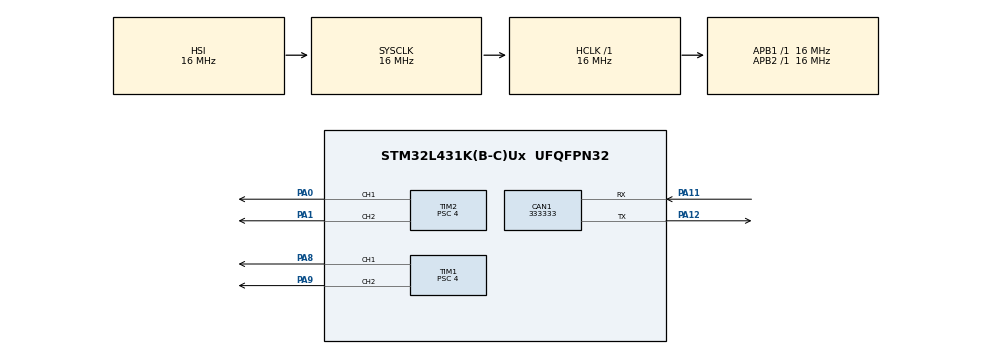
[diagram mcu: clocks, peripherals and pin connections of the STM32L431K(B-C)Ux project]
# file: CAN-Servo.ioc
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CAN1.BS1=CAN_BS1_1TQ
CAN1.BS2=CAN_BS2_1TQ
CAN1.CalculateBaudRate=333333
CAN1.CalculateTimeBit=3000
CAN1.CalculateTimeQuantum=1000.0
Mcu.Family=STM32L4
Mcu.Name=STM32L431K(B-C)Ux
Mcu.Package=UFQFPN32
NVIC.PriorityGroup=NVIC_PRIORITYGROUP_4
PA0.Signal=S_TIM2_CH1
PA1.Signal=S_TIM2_CH2
PA11.Mode=CAN_Activate
PA11.Signal=CAN1_RX
PA12.Mode=CAN_Activate
PA12.Signal=CAN1_TX
PA8.Signal=S_TIM1_CH1
PA9.Signal=S_TIM1_CH2
ProjectManager.HeapSize=0x200
ProjectManager.StackSize=0x400
ProjectManager.TargetToolchain=STM32CubeIDE
RCC.ADCFreq_Value=16000000
RCC.AHBFreq_Value=16000000
RCC.APB1Freq_Value=16000000
RCC.APB1TimFreq_Value=16000000
RCC.APB2Freq_Value=16000000
RCC.APB2TimFreq_Value=16000000
RCC.CortexFreq_Value=16000000
RCC.HCLKFreq_Value=16000000
RCC.HSE_VALUE=8000000
RCC.HSI48_VALUE=48000000
RCC.HSI_VALUE=16000000
RCC.LSE_VALUE=32768
RCC.MSI_VALUE=4000000
RCC.PLLN=40
RCC.SYSCLKFreq_VALUE=16000000
RCC.SYSCLKSource=RCC_SYSCLKSOURCE_HSI
RCC.VCOOutputFreq_Value=160000000
SH.S_TIM1_CH1.0=TIM1_CH1,PWM Generation1 CH1
SH.S_TIM1_CH2.0=TIM1_CH2,PWM Generation2 CH2
SH.S_TIM2_CH1.0=TIM2_CH1,PWM Generation1 CH1
SH.S_TIM2_CH2.0=TIM2_CH2,PWM Generation2 CH2
TIM1.Channel-PWM\ Generation1\ CH1=TIM_CHANNEL_1
TIM1.Channel-PWM\ Generation2\ CH2=TIM_CHANNEL_2
TIM1.Period=64000
TIM1.Prescaler=4
TIM1.Pulse-PWM\ Generation1\ CH1=4800
TIM1.Pulse-PWM\ Generation2\ CH2=4800
TIM2.Channel-PWM\ Generation1\ CH1=TIM_CHANNEL_1
TIM2.Channel-PWM\ Generation2\ CH2=TIM_CHANNEL_2
TIM2.Period=64000
TIM2.Prescaler=4
TIM2.Pulse-PWM\ Generation1\ CH1=4800
TIM2.Pulse-PWM\ Generation2\ CH2=4800
VP_TIM1_VS_ClockSourceINT.Mode=Internal
VP_TIM2_VS_ClockSourceINT.Mode=Internal
board=custom

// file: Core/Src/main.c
/* USER CODE BEGIN Header */
/**
  ******************************************************************************
  * @file           : main.c
  * @brief          : Main program body
  ******************************************************************************
  * @attention
  *
  * Copyright (c) 2024 STMicroelectronics.
  * All rights reserved.
  *
  * This software is licensed under terms that can be found in the LICENSE file
  * in the root directory of this software component.
  * If no LICENSE file comes with this software, it is provided AS-IS.
  *
  ******************************************************************************
  */
/* USER CODE END Header */
#include "main.h"

/* USER CODE BEGIN Includes */
#include <stdio.h>
#include <string.h>
#include <canard.h>
#include <_timespec.h>
#include <time.h>
#include "../dsdlc_generated/inc/dronecan_msgs.h"
#include <canard_stm32_driver.h>

/* USER CODE END Includes */

/* USER CODE BEGIN PD */
#define CLOCK_MONOTONIC 1  // Define CLOCK_MONOTONIC for compatibility

/* USER CODE END PD */

CAN_HandleTypeDef hcan1;

TIM_HandleTypeDef htim1;
TIM_HandleTypeDef htim2;

/* USER CODE BEGIN PV */
const int PWM_TRIM = 1500; // The trim value for the PWM signal
const float PWM_SCALE_FACTOR = 500.0; // Scale factor to map PWM to range -1 to 1
static CanardInstance canard;
static uint8_t memory_pool[1024];
/* USER CODE END PV */

void SystemClock_Config(void);
static void MX_GPIO_Init(void);
static void MX_CAN1_Init(void);
static void MX_TIM1_Init(void);
static void MX_TIM2_Init(void);

/* USER CODE BEGIN 0 */

/*
  keep the state of 4 servos, simulating a 4 servo node
 */
#define NUM_SERVOS 4 //CHANGE THIS LATER

static struct servo_state {
    float position; // -1 to 1
    uint64_t last_update_us;
} servos[NUM_SERVOS];

static struct uavcan_protocol_NodeStatus node_status;

// Custom clock_gettime function for STM32
int clock_gettime(clockid_t clk_id, struct timespec *tp) {
    if (clk_id == CLOCK_MONOTONIC) {
        uint32_t millis = HAL_GetTick();  // Get the current tick in milliseconds
        tp->tv_sec = millis / 1000;       // Convert milliseconds to seconds
        tp->tv_nsec = (millis % 1000) * 1000000;  // Convert remaining milliseconds to nanoseconds
        return 0;  // Success
    }
    return -1;  // Unsupported clock ID
}

/*
  get a 16 byte unique ID for this node, this should be based on the CPU unique ID or other unique ID
 */
void getUniqueID(uint8_t id[16]){
	uint32_t HALUniqueIDs[3];
// Make Unique ID out of the 96-bit STM32 UID and fill the rest with 0s
	memset(id, 0, 16);
	HALUniqueIDs[0] = HAL_GetUIDw0();
	HALUniqueIDs[1] = HAL_GetUIDw1();
	HALUniqueIDs[2] = HAL_GetUIDw2();
	memcpy(id, HALUniqueIDs, 12);
}

// Might have to change the code if the handler (&htim) changes based on # of servos were controlling
void setServoPWM(uint8_t ServoNum){
	switch (ServoNum) {
	case 0:
		__HAL_TIM_SET_COMPARE(&htim1, TIM_CHANNEL_1, servos[0].position * (PULSE_RANGE/2) + (PULSE_RANGE*1.5));
		printf("SERVO 0 PWM SET");
		break;
	case 1:
		__HAL_TIM_SET_COMPARE(&htim1, TIM_CHANNEL_2, servos[1].position * (PULSE_RANGE/2) + (PULSE_RANGE*1.5));
		printf("SERVO 1 PWM SET");
		break;
	case 2:
		__HAL_TIM_SET_COMPARE(&htim2, TIM_CHANNEL_1, servos[2].position * (PULSE_RANGE/2) + (PULSE_RANGE*1.5));
		printf("SERVO 2 PWM SET");
		break;
	case 3:
		__HAL_TIM_SET_COMPARE(&htim2, TIM_CHANNEL_2, servos[3].position * (PULSE_RANGE/2) + (PULSE_RANGE*1.5));
		printf("SERVO 3 PWM SET");
		break;
	default:
		printf("INVALID SERVO ID, NOTHING SET");
		break;
	}
}

/*
  get a 64 bit monotonic timestamp in microseconds since start. This
  is platform specific
 */
//static uint64_t micros64(void)
//{
//    static uint64_t first_us;
//    struct timespec ts;
//    clock_gettime(CLOCK_MONOTONIC, &ts);
//    uint64_t tus = (uint64_t)(ts.tv_sec * 1000000ULL + ts.tv_nsec / 1000ULL);
//    if (first_us == 0) {
//        first_us = tus;
//    }
//    return tus - first_us;
//}

/*
  handle a GetNodeInfo request
*/
static void handle_GetNodeInfo(CanardInstance *ins, CanardRxTransfer *transfer)
{
    printf("GetNodeInfo request from %d\n", transfer->source_node_id);

    uint8_t buffer[UAVCAN_PROTOCOL_GETNODEINFO_RESPONSE_MAX_SIZE];
    struct uavcan_protocol_GetNodeInfoResponse pkt;

    memset(&pkt, 0, sizeof(pkt));

    node_status.uptime_sec = HAL_GetTick() / 1000ULL;
    pkt.status = node_status;

    // fill in your major and minor firmware version
    pkt.software_version.major = 1;
    pkt.software_version.minor = 2;
    pkt.software_version.optional_field_flags = 0;
    pkt.software_version.vcs_commit = 0; // should put git hash in here

    // should fill in hardware version
    pkt.hardware_version.major = 2;
    pkt.hardware_version.minor = 3;

    getUniqueID(pkt.hardware_version.unique_id);

    strncpy((char*)pkt.name.data, "ServoNode", sizeof(pkt.name.data));
    pkt.name.len = strnlen((char*)pkt.name.data, sizeof(pkt.name.data));

    uint16_t total_size = uavcan_protocol_GetNodeInfoResponse_encode(&pkt, buffer);

    canardRequestOrRespond(ins,
                           transfer->source_node_id,
                           UAVCAN_PROTOCOL_GETNODEINFO_SIGNATURE,
                           UAVCAN_PROTOCOL_GETNODEINFO_ID,
                           &transfer->transfer_id,
                           transfer->priority,
                           CanardResponse,
                           &buffer[0],
                           total_size);
}

void HAL_FDCAN_RxFifo0Callback(CAN_HandleTypeDef *hcan, uint32_t RxFifo0ITs) {
	CAN_RxHeaderTypeDef RxHeader;
	uint8_t RxData[8];

	HAL_CAN_GetRxMessage(hcan, CAN_RX_FIFO0, &RxHeader, RxData);

	printf("Received message: ID=%lu, DLC=%lu\n", RxHeader.IDE, RxHeader.DLC);

	printf("0x");
	for (int i = 0; i < RxHeader.DLC; i++) {
		printf("%02x", RxData[i]);
	}
	printf("\n");

	// Receiving
	CanardCANFrame rx_frame;

	const uint64_t timestamp = HAL_GetTick() * 1000;
	rx_frame.id = RxHeader.IDE | CANARD_CAN_FRAME_EFF;
	rx_frame.data_len = RxHeader.DLC;
	memcpy(rx_frame.data, RxData, RxHeader.DLC);
	// assume a single interface
	rx_frame.iface_id = 0;

	canardHandleRxFrame(&canard, &rx_frame, timestamp);
}

void handle_NodeStatus(CanardInstance *ins, CanardRxTransfer *transfer) {
	struct uavcan_protocol_NodeStatus nodeStatus;

	if (uavcan_protocol_NodeStatus_decode(transfer, &nodeStatus)) {
		return;
	}

	printf("Node health: %ud Node Mode: %ud\n", nodeStatus.health, nodeStatus.mode);

	printf("Node Health ");

	switch (nodeStatus.health) {
	case UAVCAN_PROTOCOL_NODESTATUS_HEALTH_OK:
		printf("OK\n");
		break;
	case UAVCAN_PROTOCOL_NODESTATUS_HEALTH_WARNING:
		printf("WARNING\n");
		break;
	case UAVCAN_PROTOCOL_NODESTATUS_HEALTH_ERROR:
		printf("ERROR\n");
		break;
	case UAVCAN_PROTOCOL_NODESTATUS_HEALTH_CRITICAL:
		printf("CRITICAL\n");
		break;
	default:
		printf("UNKNOWN?\n");
		break;
	}

	printf("Node Mode ");

	switch(nodeStatus.mode) {
	case UAVCAN_PROTOCOL_NODESTATUS_MODE_OPERATIONAL:
		printf("OPERATIONAL\n");
		break;
	case UAVCAN_PROTOCOL_NODESTATUS_MODE_INITIALIZATION:
		printf("INITIALIZATION\n");
		break;
	case UAVCAN_PROTOCOL_NODESTATUS_MODE_MAINTENANCE:
		printf("MAINTENANCE\n");
		break;
	case UAVCAN_PROTOCOL_NODESTATUS_MODE_SOFTWARE_UPDATE:
		printf("SOFTWARE UPDATE\n");
		break;
	case UAVCAN_PROTOCOL_NODESTATUS_MODE_OFFLINE:
		printf("OFFLINE\n");
		break;
	default:
		printf("UNKNOWN?\n");
		break;
	}
}

void handle_NotifyState(CanardInstance *ins, CanardRxTransfer *transfer) {
	struct ardupilot_indication_NotifyState notifyState;

	if (ardupilot_indication_NotifyState_decode(transfer, &notifyState)) {
		return;
	}

	printf("Vehicle State: %llu ", notifyState.vehicle_state);

	if (notifyState.aux_data.len > 0) {
		printf("Aux Data: 0x");

		for (int i = 0; i < notifyState.aux_data.len; i++) {
			printf("%02x", notifyState.aux_data.data[i]);
		}
	}

	printf("\n");

}
/*
 * handle a servo ArrayCommand request
 */
static void handle_ArrayCommand(CanardInstance *ins, CanardRxTransfer *transfer)
{
    struct uavcan_equipment_actuator_ArrayCommand cmd;
    if (uavcan_equipment_actuator_ArrayCommand_decode(transfer, &cmd)) { //return true if decode is invalid
        return;
    }
    uint64_t tnow = HAL_GetTick() * 1000ULL;
    for (uint8_t i=0; i < cmd.commands.len; i++) {
        if (cmd.commands.data[i].actuator_id >= NUM_SERVOS) {
            // not for us
            continue;
        }
        switch (cmd.commands.data[i].command_type) {
        case UAVCAN_EQUIPMENT_ACTUATOR_COMMAND_COMMAND_TYPE_UNITLESS:
            servos[cmd.commands.data[i].actuator_id].position = cmd.commands.data[i].command_value;
            break;
        case UAVCAN_EQUIPMENT_ACTUATOR_COMMAND_COMMAND_TYPE_PWM:
            // map PWM to -1 to 1, assuming 1500 trim. If the servo has natural PWM
            // support then we should use it directly instead
            servos[cmd.commands.data[i].actuator_id].position = (cmd.commands.data[i].command_value-PWM_TRIM)/PWM_SCALE_FACTOR;
            //set the PWM signal duty cycle
            setServoPWM(cmd.commands.data[i].actuator_id);
            break;
        }
        servos[cmd.commands.data[i].actuator_id].last_update_us = tnow;

        //call a function to run the servos with the data set in this function
    }
}

void onTransferReceived(CanardInstance *ins, CanardRxTransfer *transfer) {
	// switch on data type ID to pass to the right handler function
	printf("Transfer type: %du, Transfer ID: %du \n", transfer->transfer_type, transfer->data_type_id);
	printf("0x");
		for (int i = 0; i < transfer->payload_len; i++) {
			printf("%02x", transfer->payload_head[i]);
		}

		printf("\n");
		if (transfer->transfer_type == CanardTransferTypeBroadcast) {
			// check if we want to handle a specific broadcast message
			switch (transfer->data_type_id) {
			case UAVCAN_PROTOCOL_NODESTATUS_ID: {
				handle_NodeStatus(ins, transfer);
				break;
			}
			case ARDUPILOT_INDICATION_NOTIFYSTATE_ID: {
				handle_NotifyState(ins, transfer);
				break;
			}
			case UAVCAN_EQUIPMENT_ACTUATOR_ARRAYCOMMAND_ID:{
				handle_ArrayCommand(ins, transfer);
				break;
			}
			}
		}
		if (transfer->transfer_type == CanardTransferTypeRequest){
			switch (transfer->data_type_id){
			case UAVCAN_PROTOCOL_GETNODEINFO_ID:{
				handle_GetNodeInfo(ins, transfer);
				break;
			}
			}
		}
}

bool shouldAcceptTransfer(const CanardInstance *ins,
                                 uint64_t *out_data_type_signature,
                                 uint16_t data_type_id,
                                 CanardTransferType transfer_type,
                                 uint8_t source_node_id)
{
	if (transfer_type == CanardTransferTypeRequest) {
	// check if we want to handle a specific service request
	switch (data_type_id) {
	case UAVCAN_PROTOCOL_GETNODEINFO_ID: {
		*out_data_type_signature = UAVCAN_PROTOCOL_GETNODEINFO_REQUEST_SIGNATURE;
		return true;
	}
	case UAVCAN_PROTOCOL_PARAM_GETSET_ID: {
		*out_data_type_signature = UAVCAN_PROTOCOL_PARAM_GETSET_SIGNATURE;
		return true;
	}
	case UAVCAN_PROTOCOL_PARAM_EXECUTEOPCODE_ID: {
		*out_data_type_signature = UAVCAN_PROTOCOL_PARAM_EXECUTEOPCODE_SIGNATURE;
		return true;
	}
	case UAVCAN_PROTOCOL_RESTARTNODE_ID: {
		*out_data_type_signature = UAVCAN_PROTOCOL_RESTARTNODE_SIGNATURE;
		return true;
	}
	case UAVCAN_PROTOCOL_FILE_BEGINFIRMWAREUPDATE_ID:
		*out_data_type_signature = UAVCAN_PROTOCOL_FILE_BEGINFIRMWAREUPDATE_SIGNATURE;
		return true;
	}
	}
	if (transfer_type == CanardTransferTypeResponse) {
		// check if we want to handle a specific service request
		switch (data_type_id) {
		case UAVCAN_PROTOCOL_FILE_READ_ID:
			*out_data_type_signature = UAVCAN_PROTOCOL_FILE_READ_SIGNATURE;
			return true;
		}
	}
	if (transfer_type == CanardTransferTypeBroadcast) {
		// see if we want to handle a specific broadcast packet
		switch (data_type_id) {
		case UAVCAN_EQUIPMENT_ACTUATOR_ARRAYCOMMAND_ID: {
			*out_data_type_signature = UAVCAN_EQUIPMENT_ACTUATOR_ARRAYCOMMAND_SIGNATURE; //Change this
			return true;
		}
		case UAVCAN_PROTOCOL_NODESTATUS_ID: {
			*out_data_type_signature = UAVCAN_PROTOCOL_NODESTATUS_SIGNATURE;
			return true;
		}
		case ARDUPILOT_INDICATION_NOTIFYSTATE_ID: {
			*out_data_type_signature = ARDUPILOT_INDICATION_NOTIFYSTATE_SIGNATURE;
			return true;
		}
		}
	}
	// we don't want any other messages
	return false;
}

/*
  send the 1Hz NodeStatus message. This is what allows a node to show
  up in the DroneCAN GUI tool and in the flight controller logs
 */
static void send_NodeStatus(void)
{
    uint8_t buffer[UAVCAN_PROTOCOL_GETNODEINFO_RESPONSE_MAX_SIZE];

    node_status.uptime_sec = HAL_GetTick() / 1000ULL;
    node_status.health = UAVCAN_PROTOCOL_NODESTATUS_HEALTH_OK;
    node_status.mode = UAVCAN_PROTOCOL_NODESTATUS_MODE_OPERATIONAL;
    node_status.sub_mode = 0;
    // put whatever you like in here for display in GUI
    node_status.vendor_specific_status_code = 1234;

    uint32_t len = uavcan_protocol_NodeStatus_encode(&node_status, buffer);

    // we need a static variable for the transfer ID. This is
    // incremeneted on each transfer, allowing for detection of packet
    // loss
    static uint8_t transfer_id;

    canardBroadcast(&canard,
                    UAVCAN_PROTOCOL_NODESTATUS_SIGNATURE,
                    UAVCAN_PROTOCOL_NODESTATUS_ID,
                    &transfer_id,
                    CANARD_TRANSFER_PRIORITY_LOW,
                    buffer,
                    len);
}

void processCanardTxQueue(CAN_HandleTypeDef *hcan) {
	// Transmitting

	for (const CanardCANFrame *tx_frame ; (tx_frame = canardPeekTxQueue(&canard)) != NULL;) {
		const int16_t tx_res = canardSTM32Transmit(hcan, tx_frame);

		if (tx_res < 0) {
			printf("Transmit error %d\n", tx_res);
		} else if (tx_res > 0) {
			printf("Successfully transmitted message\n");
		}

		// Pop canardTxQueue either way
		canardPopTxQueue(&canard);
	}
}

/*
  This function is called at 1 Hz rate from the main loop.
*/
static void process1HzTasks(uint64_t timestamp_usec)
{
    /*
      Purge transfers that are no longer transmitted. This can free up some memory
    */
    canardCleanupStaleTransfers(&canard, timestamp_usec);

    /*
      Transmit the node status message
    */
    send_NodeStatus();
}

/*
  send servo status at 50Hz
*/
static void send_ServoStatus(void)
{
    // send a separate status packet for each servo
    for (uint8_t i=0; i<NUM_SERVOS; i++) {
        struct uavcan_equipment_actuator_Status pkt;
        memset(&pkt, 0, sizeof(pkt));
        uint8_t buffer[UAVCAN_EQUIPMENT_ACTUATOR_STATUS_MAX_SIZE];

        // make up some synthetic status data
        pkt.actuator_id = i;
        pkt.position = servos[i].position;
        pkt.force = 3.5 * servos[i].position;
        pkt.speed = 0.12; // m/s or rad/s
        pkt.power_rating_pct = 17;

        uint32_t len = uavcan_equipment_actuator_Status_encode(&pkt, buffer);

        // we need a static variable for the transfer ID. This is
        // incremeneted on each transfer, allowing for detection of packet
        // loss
        static uint8_t transfer_id;

        canardBroadcast(&canard,
                        UAVCAN_EQUIPMENT_ACTUATOR_STATUS_SIGNATURE,
                        UAVCAN_EQUIPMENT_ACTUATOR_STATUS_ID,
                        &transfer_id,
                        CANARD_TRANSFER_PRIORITY_LOW,
                        buffer,
                        len);
    }
}

//Function to send

/* USER CODE END 0 */

int main(void)
{

  /* MCU Configuration--------------------------------------------------------*/

  /* Reset of all peripherals, Initializes the Flash interface and the Systick. */
  HAL_Init();

  /* Configure the system clock */
  SystemClock_Config();

  /* Initialize all configured peripherals */
  MX_GPIO_Init();
  MX_CAN1_Init();
  MX_TIM1_Init();
  MX_TIM2_Init();
  /* USER CODE BEGIN 2 */

  __HAL_TIM_SET_COMPARE(&htim1, TIM_CHANNEL_1, PULSE_RANGE*1.5);
  __HAL_TIM_SET_COMPARE(&htim1, TIM_CHANNEL_2, PULSE_RANGE*1.5);
  __HAL_TIM_SET_COMPARE(&htim2, TIM_CHANNEL_1, PULSE_RANGE*1.5);
  __HAL_TIM_SET_COMPARE(&htim2, TIM_CHANNEL_2, PULSE_RANGE*1.5);

  if (HAL_TIM_PWM_Start(&htim1, TIM_CHANNEL_1)!= HAL_OK){
	  Error_Handler();
  }
  if (HAL_TIM_PWM_Start(&htim1, TIM_CHANNEL_2)!= HAL_OK){
  	  Error_Handler();
  }
  if (HAL_TIM_PWM_Start(&htim2, TIM_CHANNEL_1)!= HAL_OK){
  	  Error_Handler();
  }
  if (HAL_TIM_PWM_Start(&htim2, TIM_CHANNEL_2)!= HAL_OK){
  	  Error_Handler();
  }

  canardInit(&canard,
		  	  memory_pool,
			  sizeof(memory_pool),
			  onTransferReceived,
			  shouldAcceptTransfer,
			  NULL);

  uint64_t next_1hz_service_at = HAL_GetTick();
  uint64_t next_50hz_service_at = HAL_GetTick();
  /* USER CODE END 2 */

  /* Infinite loop */
  while (1)
  {

    /* USER CODE BEGIN 3 */
	  processCanardTxQueue(&hcan1);
	  const uint64_t ts = HAL_GetTick();

	  if (ts >= next_1hz_service_at){
		  next_1hz_service_at += 1000ULL;
		  process1HzTasks(ts);
	  }
	  if (ts >= next_50hz_service_at){
		  next_50hz_service_at += 1000ULL/50U;
		  send_ServoStatus();
	  }
  }
  /* USER CODE END 3 */
}

void SystemClock_Config(void)
{
  RCC_OscInitTypeDef RCC_OscInitStruct = {0};
  RCC_ClkInitTypeDef RCC_ClkInitStruct = {0};

  /** Configure the main internal regulator output voltage
  */
  if (HAL_PWREx_ControlVoltageScaling(PWR_REGULATOR_VOLTAGE_SCALE1) != HAL_OK)
  {
    Error_Handler();
  }

  /** Initializes the RCC Oscillators according to the specified parameters
  * in the RCC_OscInitTypeDef structure.
  */
  RCC_OscInitStruct.OscillatorType = RCC_OSCILLATORTYPE_HSI;
  RCC_OscInitStruct.HSIState = RCC_HSI_ON;
  RCC_OscInitStruct.HSICalibrationValue = RCC_HSICALIBRATION_DEFAULT;
  RCC_OscInitStruct.PLL.PLLState = RCC_PLL_NONE;
  if (HAL_RCC_OscConfig(&RCC_OscInitStruct) != HAL_OK)
  {
    Error_Handler();
  }

  /** Initializes the CPU, AHB and APB buses clocks
  */
  RCC_ClkInitStruct.ClockType = RCC_CLOCKTYPE_HCLK|RCC_CLOCKTYPE_SYSCLK
                              |RCC_CLOCKTYPE_PCLK1|RCC_CLOCKTYPE_PCLK2;
  RCC_ClkInitStruct.SYSCLKSource = RCC_SYSCLKSOURCE_HSI;
  RCC_ClkInitStruct.AHBCLKDivider = RCC_SYSCLK_DIV1;
  RCC_ClkInitStruct.APB1CLKDivider = RCC_HCLK_DIV1;
  RCC_ClkInitStruct.APB2CLKDivider = RCC_HCLK_DIV1;

  if (HAL_RCC_ClockConfig(&RCC_ClkInitStruct, FLASH_LATENCY_0) != HAL_OK)
  {
    Error_Handler();
  }
}

static void MX_CAN1_Init(void)
{

  hcan1.Instance = CAN1;
  hcan1.Init.Prescaler = 16;
  hcan1.Init.Mode = CAN_MODE_NORMAL;
  hcan1.Init.SyncJumpWidth = CAN_SJW_1TQ;
  hcan1.Init.TimeSeg1 = CAN_BS1_1TQ;
  hcan1.Init.TimeSeg2 = CAN_BS2_1TQ;
  hcan1.Init.TimeTriggeredMode = DISABLE;
  hcan1.Init.AutoBusOff = DISABLE;
  hcan1.Init.AutoWakeUp = DISABLE;
  hcan1.Init.AutoRetransmission = DISABLE;
  hcan1.Init.ReceiveFifoLocked = DISABLE;
  hcan1.Init.TransmitFifoPriority = DISABLE;
  if (HAL_CAN_Init(&hcan1) != HAL_OK)
  {
    Error_Handler();
  }

}

static void MX_TIM1_Init(void)
{

  TIM_ClockConfigTypeDef sClockSourceConfig = {0};
  TIM_MasterConfigTypeDef sMasterConfig = {0};
  TIM_OC_InitTypeDef sConfigOC = {0};
  TIM_BreakDeadTimeConfigTypeDef sBreakDeadTimeConfig = {0};

  htim1.Instance = TIM1;
  htim1.Init.Prescaler = 4;
  htim1.Init.CounterMode = TIM_COUNTERMODE_UP;
  htim1.Init.Period = 64000;
  htim1.Init.ClockDivision = TIM_CLOCKDIVISION_DIV1;
  htim1.Init.RepetitionCounter = 0;
  htim1.Init.AutoReloadPreload = TIM_AUTORELOAD_PRELOAD_DISABLE;
  if (HAL_TIM_Base_Init(&htim1) != HAL_OK)
  {
    Error_Handler();
  }
  sClockSourceConfig.ClockSource = TIM_CLOCKSOURCE_INTERNAL;
  if (HAL_TIM_ConfigClockSource(&htim1, &sClockSourceConfig) != HAL_OK)
  {
    Error_Handler();
  }
  if (HAL_TIM_PWM_Init(&htim1) != HAL_OK)
  {
    Error_Handler();
  }
  sMasterConfig.MasterOutputTrigger = TIM_TRGO_RESET;
  sMasterConfig.MasterOutputTrigger2 = TIM_TRGO2_RESET;
  sMasterConfig.MasterSlaveMode = TIM_MASTERSLAVEMODE_DISABLE;
  if (HAL_TIMEx_MasterConfigSynchronization(&htim1, &sMasterConfig) != HAL_OK)
  {
    Error_Handler();
  }
  sConfigOC.OCMode = TIM_OCMODE_PWM1;
  sConfigOC.Pulse = 4800;
  sConfigOC.OCPolarity = TIM_OCPOLARITY_HIGH;
  sConfigOC.OCNPolarity = TIM_OCNPOLARITY_HIGH;
  sConfigOC.OCFastMode = TIM_OCFAST_DISABLE;
  sConfigOC.OCIdleState = TIM_OCIDLESTATE_RESET;
  sConfigOC.OCNIdleState = TIM_OCNIDLESTATE_RESET;
  if (HAL_TIM_PWM_ConfigChannel(&htim1, &sConfigOC, TIM_CHANNEL_1) != HAL_OK)
  {
    Error_Handler();
  }
  if (HAL_TIM_PWM_ConfigChannel(&htim1, &sConfigOC, TIM_CHANNEL_2) != HAL_OK)
  {
    Error_Handler();
  }
  sBreakDeadTimeConfig.OffStateRunMode = TIM_OSSR_DISABLE;
  sBreakDeadTimeConfig.OffStateIDLEMode = TIM_OSSI_DISABLE;
  sBreakDeadTimeConfig.LockLevel = TIM_LOCKLEVEL_OFF;
  sBreakDeadTimeConfig.DeadTime = 0;
  sBreakDeadTimeConfig.BreakState = TIM_BREAK_DISABLE;
  sBreakDeadTimeConfig.BreakPolarity = TIM_BREAKPOLARITY_HIGH;
  sBreakDeadTimeConfig.BreakFilter = 0;
  sBreakDeadTimeConfig.Break2State = TIM_BREAK2_DISABLE;
  sBreakDeadTimeConfig.Break2Polarity = TIM_BREAK2POLARITY_HIGH;
  sBreakDeadTimeConfig.Break2Filter = 0;
  sBreakDeadTimeConfig.AutomaticOutput = TIM_AUTOMATICOUTPUT_DISABLE;
  if (HAL_TIMEx_ConfigBreakDeadTime(&htim1, &sBreakDeadTimeConfig) != HAL_OK)
  {
    Error_Handler();
  }
  HAL_TIM_MspPostInit(&htim1);

}

static void MX_TIM2_Init(void)
{

  TIM_ClockConfigTypeDef sClockSourceConfig = {0};
  TIM_MasterConfigTypeDef sMasterConfig = {0};
  TIM_OC_InitTypeDef sConfigOC = {0};

  htim2.Instance = TIM2;
  htim2.Init.Prescaler = 4;
  htim2.Init.CounterMode = TIM_COUNTERMODE_UP;
  htim2.Init.Period = 64000;
  htim2.Init.ClockDivision = TIM_CLOCKDIVISION_DIV1;
  htim2.Init.AutoReloadPreload = TIM_AUTORELOAD_PRELOAD_DISABLE;
  if (HAL_TIM_Base_Init(&htim2) != HAL_OK)
  {
    Error_Handler();
  }
  sClockSourceConfig.ClockSource = TIM_CLOCKSOURCE_INTERNAL;
  if (HAL_TIM_ConfigClockSource(&htim2, &sClockSourceConfig) != HAL_OK)
  {
    Error_Handler();
  }
  if (HAL_TIM_PWM_Init(&htim2) != HAL_OK)
  {
    Error_Handler();
  }
  sMasterConfig.MasterOutputTrigger = TIM_TRGO_RESET;
  sMasterConfig.MasterSlaveMode = TIM_MASTERSLAVEMODE_DISABLE;
  if (HAL_TIMEx_MasterConfigSynchronization(&htim2, &sMasterConfig) != HAL_OK)
  {
    Error_Handler();
  }
  sConfigOC.OCMode = TIM_OCMODE_PWM1;
  sConfigOC.Pulse = 4800;
  sConfigOC.OCPolarity = TIM_OCPOLARITY_HIGH;
  sConfigOC.OCFastMode = TIM_OCFAST_DISABLE;
  if (HAL_TIM_PWM_ConfigChannel(&htim2, &sConfigOC, TIM_CHANNEL_1) != HAL_OK)
  {
    Error_Handler();
  }
  if (HAL_TIM_PWM_ConfigChannel(&htim2, &sConfigOC, TIM_CHANNEL_2) != HAL_OK)
  {
    Error_Handler();
  }
  HAL_TIM_MspPostInit(&htim2);

}

static void MX_GPIO_Init(void)
{

  /* GPIO Ports Clock Enable */
  __HAL_RCC_GPIOA_CLK_ENABLE();

}

void Error_Handler(void)
{
  __disable_irq();
  while (1)
  {
  }
}
